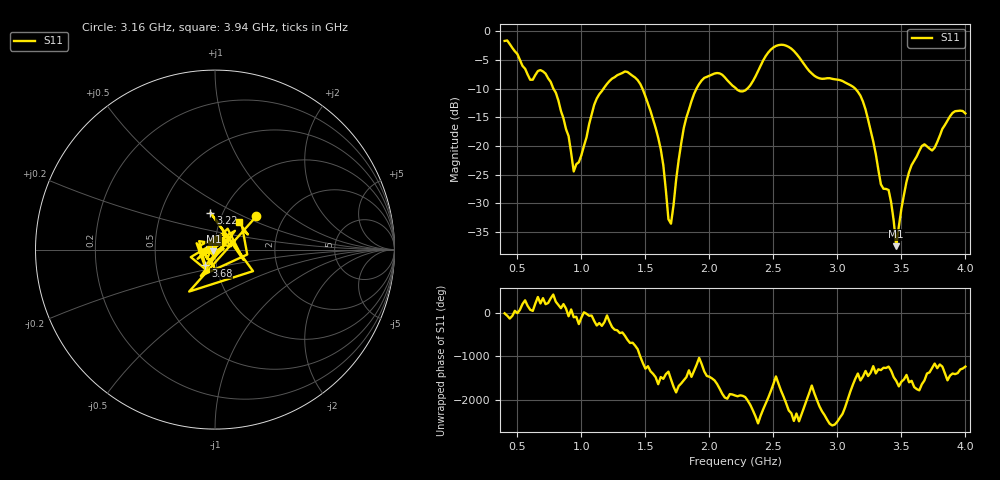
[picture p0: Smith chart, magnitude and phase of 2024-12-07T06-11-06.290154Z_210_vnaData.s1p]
!Created with skrf (http://scikit-rf.org).
# Hz S RI R 50.0
!freq ReS11 ImS11
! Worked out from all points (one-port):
!   181 points, 400 MHz to 4 GHz, reference 50 ohm
!   lowest |S11| = -37.5 dB at 3.46 GHz (marker M1), VSWR 1.03, Z = 49.1 - j0.982 ohm
!   |S11| at or under -10 dB: 781 MHz to 1.173 GHz (391.9 MHz wide, 40.1 % of centre); 1.477 GHz to 1.899 GHz (422.2 MHz wide, 25 % of centre); 3.14 GHz to end of sweep (the widest 3 of 4)
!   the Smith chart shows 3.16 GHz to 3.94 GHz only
!   S11 on the Smith chart (normalised r, x): 3.16 GHz: 1.46, +0.60; 3.22 GHz: 0.87, +0.38; 3.68 GHz: 0.88, -0.16; 3.94 GHz: 1.24, +0.39
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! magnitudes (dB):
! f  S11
! 400 MHz  -1.7
! 600 MHz  -8.5
! 720 MHz  -7.4
! 860 MHz  -15.2
! 940 MHz  -24.4
! 1.12 GHz  -11.7
! 1.3 GHz  -7.5
! 1.44 GHz  -8.5
! 1.54 GHz  -13.9
! 1.62 GHz  -20.6
! 1.68 GHz  -32.8
! 1.7 GHz  -33.5
! 1.76 GHz  -22.4
! 1.82 GHz  -15.0
! 1.94 GHz  -8.6
! 2.2 GHz  -9.8
! 2.5 GHz  -2.8
! 2.66 GHz  -3.4
! 3.1 GHz  -9.4
! 3.16 GHz  -10.5
! 3.22 GHz  -13.6
! 3.34 GHz  -26.7
! 3.4 GHz  -27.7
! 3.46 GHz  -37.5
! 3.56 GHz  -24.5
! 3.68 GHz  -19.7
! 3.94 GHz  -13.9
! 4 GHz  -14.3
